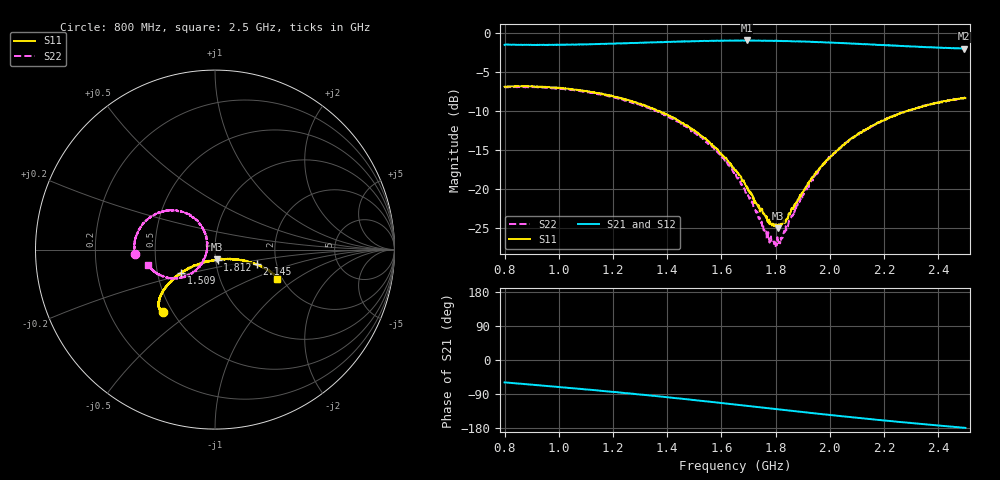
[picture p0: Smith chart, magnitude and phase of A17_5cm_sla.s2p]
!Keysight Technologies N9950B: A.12.38
!Date: Monday, 17 April 2023 20:59:49
!Timezone: (UTC-06:00) Central Time (US & Canada)
!Model: N9950B
!Serial: MY61131330
!GPS Latitude:
!GPS Longitude:
!GPS TimeStamp: 0001-01-01 00:00:00Z
!GPS Seconds Since Last Read: 0
!CHECKSUM:1829648466
!Correction: S11(ON U)S21(ON U)S12(ON U)S22(ON U)
!S2P File: Measurements:S11,S21,S12,S22:
# Hz S DB R 50
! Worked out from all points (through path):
!   1001 points, 800 MHz to 2.5 GHz, reference 50 ohm
!   highest |S21| = -0.95 dB at 1.692 GHz (marker M1); lowest = -2.0 dB at 2.493 GHz (marker M2)
!   group delay of S21, straight-line fit = 203 ps
!   lowest |S11| = -25.1 dB at 1.808 GHz (marker M3), VSWR 1.12, Z = 50.8 - j5.56 ohm
!   |S11| at or under -10 dB: 1.363947 GHz to 1.365444 GHz (1.496 MHz wide, 0.11 % of centre); 1.367 GHz to 2.286 GHz (918.7 MHz wide, 50.3 % of centre)
!   |S22| runs from -27.4 to -6.9 dB; largest |S21 - S12| = 0.0063
!   S11 on the Smith chart (normalised r, x): 800 MHz: 0.45, -0.39; 1.509 GHz: 0.66, -0.18; 1.812 GHz: 1.02, -0.12; 2.145 GHz: 1.58, -0.27; 2.5 GHz: 1.87, -0.72
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8e8  -6.89 -129.8  -1.52 -59.1  -1.47 -59.0  -6.99 -177.1
9.411e8  -6.92 -133.3  -1.53 -67.7  -1.53 -67.8  -7.00 171.3
1.0839e9  -7.38 -137.0  -1.47 -76.6  -1.45 -76.6  -7.49 159.4
1.2301e9  -8.37 -140.8  -1.33 -86.1  -1.31 -86.2  -8.49 146.7
1.3678e9  -10.01 -143.8  -1.19 -95.8  -1.17 -95.9  -10.14 135.2
1.5089e9  -12.77 -145.5  -1.03 -106.3  -1.02 -106.5  -13.07 124.8
1.5871e9  -15.08 -143.6  -0.99 -112.5  -0.98 -112.5  -15.33 120.5
1.65e9  -17.55 -140.3  -0.98 -117.5  -0.96 -117.5  -17.99 121.7
1.6925e9  -19.65 -134.5  -0.95 -120.9  -0.94 -121.0  -20.42 121.3
1.7724e9  -24.11 -103.0  -0.99 -127.3  -0.95 -127.3  -25.61 150.2
1.8081e9  -25.08 -78.4  -1.00 -130.1  -1.01 -130.1  -26.95 -175.2
1.8115e9  -24.66 -75.8  -1.01 -130.5  -1.01 -130.3  -26.99 -172.4
1.8404e9  -24.04 -54.1  -1.04 -132.5  -1.03 -132.6  -25.00 -154.3
1.905e9  -20.10 -32.5  -1.10 -137.8  -1.09 -137.6  -20.26 -134.5
1.9339e9  -18.54 -27.7  -1.15 -140.1  -1.13 -140.0  -18.87 -131.5
1.9883e9  -16.30 -22.2  -1.21 -144.0  -1.18 -144.1  -16.40 -133.2
2.041e9  -14.77 -21.2  -1.27 -148.0  -1.27 -148.2  -14.63 -133.7
2.1447e9  -12.15 -19.0  -1.46 -155.7  -1.47 -155.8  -12.14 -140.5
2.2178e9  -10.94 -20.4  -1.61 -160.9  -1.57 -160.8  -10.91 -145.9
2.364e9  -9.23 -22.9  -1.82 -170.4  -1.78 -170.5  -9.26 -156.8
2.4932e9  -8.35 -24.9  -2.00 -178.8  -1.96 -178.6  -8.37 -166.7
2.5e9  -8.37 -25.4  -2.00 -179.2  -1.96 -179.3  -8.36 -167.0
